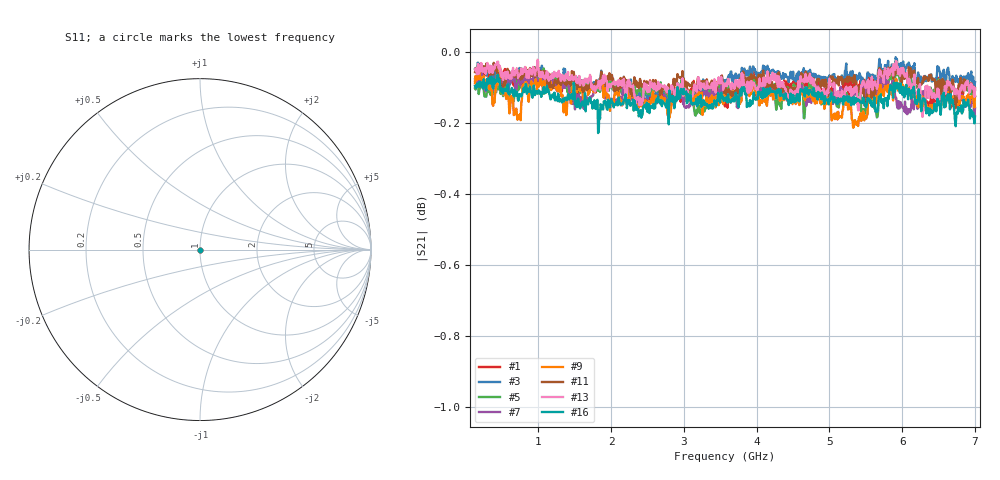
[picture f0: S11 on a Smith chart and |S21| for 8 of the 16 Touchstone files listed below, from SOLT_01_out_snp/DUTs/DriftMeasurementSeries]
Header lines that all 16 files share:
# Hz S RI R 50.000000
! Metas.Vna.Tools, 2.8.8664.20301
! Metas.Vna.Data, 2.8.8664.20285
! FREQ  re:S1,1  im:S1,1  re:S2,1  im:S2,1  re:S1,2  im:S1,2  re:S2,2  im:S2,2
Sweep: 130 MHz to 7 GHz
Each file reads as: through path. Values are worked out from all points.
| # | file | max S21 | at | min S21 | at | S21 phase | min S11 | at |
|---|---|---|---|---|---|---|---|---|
| 1 | DriftMeasurementSeries_0081.s2p | -0.04 dB | 447.7 MHz | -0.2 dB | 2.371 GHz | -1 deg at 3.565 GHz | -104.7 dB | 3.247 GHz |
| 2 | DriftMeasurementSeries_0082.s2p | -0.02 dB | 5.909 GHz | -0.1 dB | 4.887 GHz | -1 deg at 3.565 GHz | -84.4 dB | 422 MHz |
| 3 | DriftMeasurementSeries_0083.s2p | -0.02 dB | 5.909 GHz | -0.2 dB | 2.775 GHz | -1 deg at 3.565 GHz | -95.0 dB | 1.495 GHz |
| 4 | DriftMeasurementSeries_0084.s2p | -0.01 dB | 5.918 GHz | -0.1 dB | 550.8 MHz | -1 deg at 3.565 GHz | -84.0 dB | 233.1 MHz |
| 5 | DriftMeasurementSeries_0085.s2p | -0.05 dB | 1.075 GHz | -0.2 dB | 4.656 GHz | -1 deg at 3.565 GHz | -81.4 dB | 5.454 GHz |
| 6 | DriftMeasurementSeries_0086.s2p | -0.05 dB | 439.1 MHz | -0.2 dB | 997.3 MHz | -1 deg at 3.565 GHz | -91.2 dB | 1.495 GHz |
| 7 | DriftMeasurementSeries_0087.s2p | -0.05 dB | 447.7 MHz | -0.2 dB | 6.991 GHz | -1 deg at 3.565 GHz | -87.7 dB | 5.068 GHz |
| 8 | DriftMeasurementSeries_0088.s2p | -0.02 dB | 387.6 MHz | -0.2 dB | 6.201 GHz | -1 deg at 3.565 GHz | -90.4 dB | 1.495 GHz |
| 9 | DriftMeasurementSeries_0089.s2p | -0.05 dB | 439.1 MHz | -0.2 dB | 5.325 GHz | -1 deg at 3.565 GHz | -84.3 dB | 1.495 GHz |
| 10 | DriftMeasurementSeries_0090.s2p | -0.01 dB | 387.6 MHz | -0.1 dB | 2.5 GHz | -1 deg at 3.565 GHz | -90.8 dB | 1.607 GHz |
| 11 | DriftMeasurementSeries_0091.s2p | -0.03 dB | 387.6 MHz | -0.2 dB | 6.734 GHz | -1 deg at 3.565 GHz | -78.1 dB | 1.152 GHz |
| 12 | DriftMeasurementSeries_0092.s2p | 0.00 dB | 5.884 GHz | -0.1 dB | 4.991 GHz | -1 deg at 3.565 GHz | -87.3 dB | 6.914 GHz |
| 13 | DriftMeasurementSeries_0093.s2p | -0.02 dB | 988.8 MHz | -0.2 dB | 6.279 GHz | -1 deg at 3.565 GHz | -82.7 dB | 1.152 GHz |
| 14 | DriftMeasurementSeries_0094.s2p | -0.02 dB | 5.686 GHz | -0.2 dB | 3.333 GHz | -1 deg at 3.565 GHz | -90.3 dB | 5.454 GHz |
| 15 | DriftMeasurementSeries_0095.s2p | -0.02 dB | 439.1 MHz | -0.2 dB | 2.844 GHz | -1 deg at 3.565 GHz | -95.5 dB | 1.161 GHz |
| 16 | DriftMeasurementSeries_0096.s2p | -0.06 dB | 439.1 MHz | -0.2 dB | 1.822 GHz | -1 deg at 3.565 GHz | -88.7 dB | 5.454 GHz |
